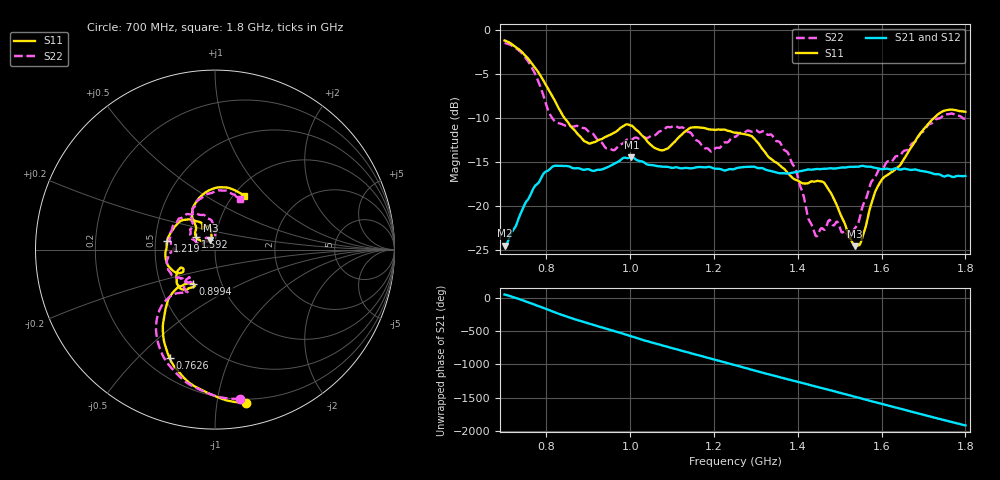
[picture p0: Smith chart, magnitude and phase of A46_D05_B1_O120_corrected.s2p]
! Created with skrf 1.9.0 (http://scikit-rf.org).
# Hz S RI R 50.0
!freq ReS11 ImS11 ReS21 ImS21 ReS12 ImS12 ReS22 ImS22
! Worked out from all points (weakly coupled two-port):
!   1601 points, 700 MHz to 1.8 GHz, reference 50 ohm
!   highest |S21| = -14.50 dB at 1.002 GHz (marker M1); lowest = -24.6 dB at 700 MHz (marker M2)
!   lowest |S11| = -24.6 dB at 1.536 GHz (marker M3), VSWR 1.12, Z = 47.3 + j5.04 ohm
!   |S11| at or under -10 dB: 842.6 MHz to 1.725 GHz (882.7 MHz wide, 68.8 % of centre)
!   |S22| runs from -23.8 to -1.5 dB; largest |S21 - S12| = 0.0034
!   S11 on the Smith chart (normalised r, x): 700 MHz: 0.17, -1.21; 762.6 MHz: 0.30, -0.62; 899.4 MHz: 0.73, -0.29; 1.219 GHz: 0.58, +0.06; 1.592 GHz: 0.80, +0.12; 1.8 GHz: 1.12, +0.76
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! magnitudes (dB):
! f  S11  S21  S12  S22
! 700 MHz  -1.2  -24.6  -24.3  -1.5
! 762.6 MHz  -3.7  -18.7  -18.7  -4.1
! 816.9 MHz  -7.8  -15.5  -15.6  -10.2
! 883.6 MHz  -12.3  -15.9  -15.8  -11.1
! 899.4 MHz  -12.9  -15.9  -15.9  -11.5
! 956.4 MHz  -11.8  -15.4  -15.4  -13.6
! 1.002 GHz  -10.9  -14.5  -14.6  -12.5
! 1.067 GHz  -13.6  -15.5  -15.5  -11.6
! 1.145 GHz  -11.1  -15.8  -15.8  -11.8
! 1.192 GHz  -11.3  -15.6  -15.6  -13.8
! 1.219 GHz  -11.4  -15.9  -15.9  -13.1
! 1.25 GHz  -11.7  -15.8  -15.7  -12.2
! 1.357 GHz  -15.4  -16.3  -16.3  -12.8
! 1.394 GHz  -17.1  -16.2  -16.2  -15.8
! 1.434 GHz  -17.2  -15.9  -15.9  -22.3
! 1.469 GHz  -17.9  -15.8  -15.8  -22.2
! 1.536 GHz  -24.6  -15.6  -15.6  -22.6
! 1.552 GHz  -24.0  -15.5  -15.5  -20.6
! 1.592 GHz  -17.7  -15.8  -15.8  -16.1
! 1.617 GHz  -16.4  -15.8  -15.8  -15.0
! 1.733 GHz  -9.7  -16.4  -16.5  -10.1
! 1.8 GHz  -9.3  -16.6  -16.6  -10.1
